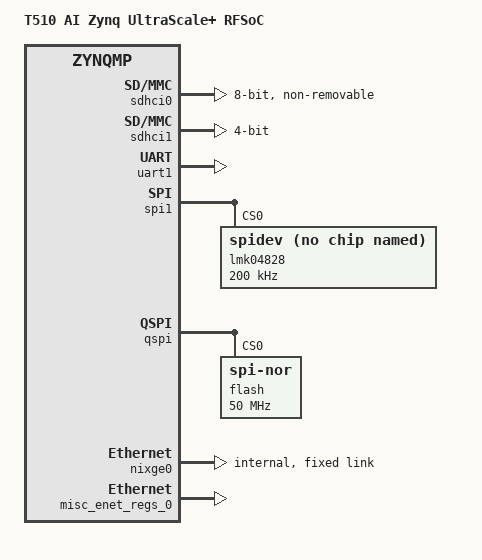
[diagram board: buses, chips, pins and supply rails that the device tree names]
/ {
	model = "T510 AI Zynq UltraScale+ RFSoC";
	compatible = "xlnx,zynqmp-rfsoc", "xlnx,zynqmp", "xlnx,zynqmp-2022.2";

	aliases {
		mmc0 = &sdhci1;
		mmc1 = &sdhci0;
		serial0 = &uart1;
		serial1 = &uart0;
	};

	chosen {
		stdout-path = "serial0:115200n8";
		bootargs = "console=ttyPS0,115200 earlycon=cdns,mmio,0xff010000 root=/dev/ram0 rw clk_ignore_unused";
	};
};

/*
 * 板级补丁只处理启动串口和 mmc alias。
 * RFDC 的参数节点保持由 DTG 根据 XSA 自动生成，Linux 用户态 xrfdc
 * 库会从 usp_rf_data_converter 节点的 param-list 读取配置。
 */

&sdhci0 {
	status = "okay";
	bus-width = <8>;
	non-removable;
	disable-wp;
};

&sdhci1 {
	status = "okay";
	bus-width = <4>;
	disable-wp;
	no-1-8-v;
	max-frequency = <50000000>;
};

&uart1 {
	status = "okay";
};

&spi1 {
	status = "okay";
	num-cs = <1>;

	lmk04828@0 {
		compatible = "rohm,dh2228fv";
		status = "okay";
		reg = <0>;
		spi-max-frequency = <200000>;
	};
};

&qspi {
	status = "okay";
	is-dual = <1>;
	num-cs = <1>;
	spi-rx-bus-width = <4>;
	spi-tx-bus-width = <4>;

	flash@0 {
		compatible = "jedec,spi-nor";
		reg = <0>;
		spi-max-frequency = <50000000>;
		spi-rx-bus-width = <4>;
		spi-tx-bus-width = <1>;
		m25p,fast-read;
	};
};


/delete-node/ &axi_dma_0;

&amba_pl {
    #address-cells = <2>;
	#size-cells = <2>;

	nixge0: ethernet@a0000000{
		compatible = "ni,xge-enet-3.00";
		reg = <0x00 0xA0000000 0x0 0x4000
			   0x00 0xA0008000 0x0 0x2000>;
		reg-names = "dma", "ctrl";

		interrupts = <0 91 4 0 92 4>;
		interrupt-names = "rx", "tx";
		interrupt-parent = <&gic>;

		// nvmem-cells = <&eth1_addr>;
		// nvmem-cell-names = "address";

		status = "okay";

		phy-mode = "internal";

		fixed-link {
			speed = <100000>;
			full-duplex;
			link-gpios = <&gpio 94 0>;
		};
	};

	misc_enet_regs_0: uio@a000A000 {
		status = "okay";
		compatible = "generic-uio";
		reg = <0x00 0xA000A000 0x0 0x2000>;
		reg-names = "misc-enet-regs0";
	};
};
